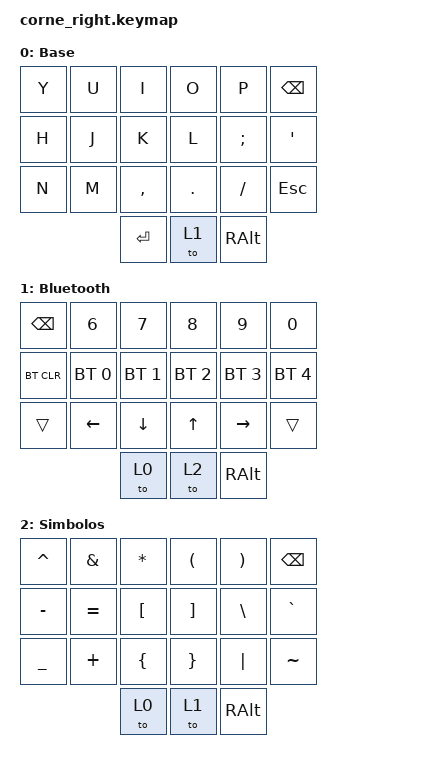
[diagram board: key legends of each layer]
/*
 * Metade DIREITA — teclado independente (Corne R).
 * 6 colunas (0–5) + 3 thumb keys — total 21 teclas.
 * Navegação por toggle: clique para entrar/sair das layers.
 */

#include <behaviors.dtsi>
#include <dt-bindings/zmk/keys.h>
#include <dt-bindings/zmk/bt.h>

/ {
    keymap {
        compatible = "zmk,keymap";

        default_layer {
            display-name = "Base";
// |  Y  |  U  |  I  |  O  |  P  | BSPC |
// |  H  |  J  |  K  |  L  |  ;  |  '   |
// |  N  |  M  |  ,  |  .  |  /  | ESC  |
//       | ENT | →BT | ALT |
            bindings = <
    &kp Y    &kp U  &kp I     &kp O   &kp P    &kp BSPC
    &kp H    &kp J  &kp K     &kp L   &kp SEMI &kp SQT
    &kp N    &kp M  &kp COMMA &kp DOT &kp FSLH &kp ESC
                    &kp RET &to 1 &kp RALT
            >;
        };

        bt_layer {
            display-name = "Bluetooth";
// | BSPC|  6  |  7  |  8  |  9  |  0  |
// |BTCLR|BT1  |BT2  |BT3  |BT4  |BT5  |
// |     | LFT | DWN | UP  | RGT |     |
//       |→BASE| →SYM| ALT |
            bindings = <
    &kp BSPC   &kp N6       &kp N7       &kp N8       &kp N9       &kp N0
    &bt BT_CLR &bt BT_SEL 0 &bt BT_SEL 1 &bt BT_SEL 2 &bt BT_SEL 3 &bt BT_SEL 4
    &trans     &kp LEFT     &kp DOWN     &kp UP       &kp RIGHT    &trans
                            &to 0        &to 2        &kp RALT
            >;
        };

        raise_layer {
            display-name = "Simbolos";
// |  ^  |  &  |  *  |  (  |  )  | BSPC |
// |  -  |  =  |  [  |  ]  |  \  |  `   |
// |  _  |  +  |  {  |  }  |  |  |  ~   |
//       |→BASE| →BT | ALT |
            bindings = <
    &kp CARET &kp AMPS  &kp ASTRK &kp LPAR &kp RPAR &kp BSPC
    &kp MINUS &kp EQUAL &kp LBKT  &kp RBKT &kp BSLH &kp GRAVE
    &kp UNDER &kp PLUS  &kp LBRC  &kp RBRC &kp PIPE &kp TILDE
                    &to 0     &to 1     &kp RALT
            >;
        };
    };
};
